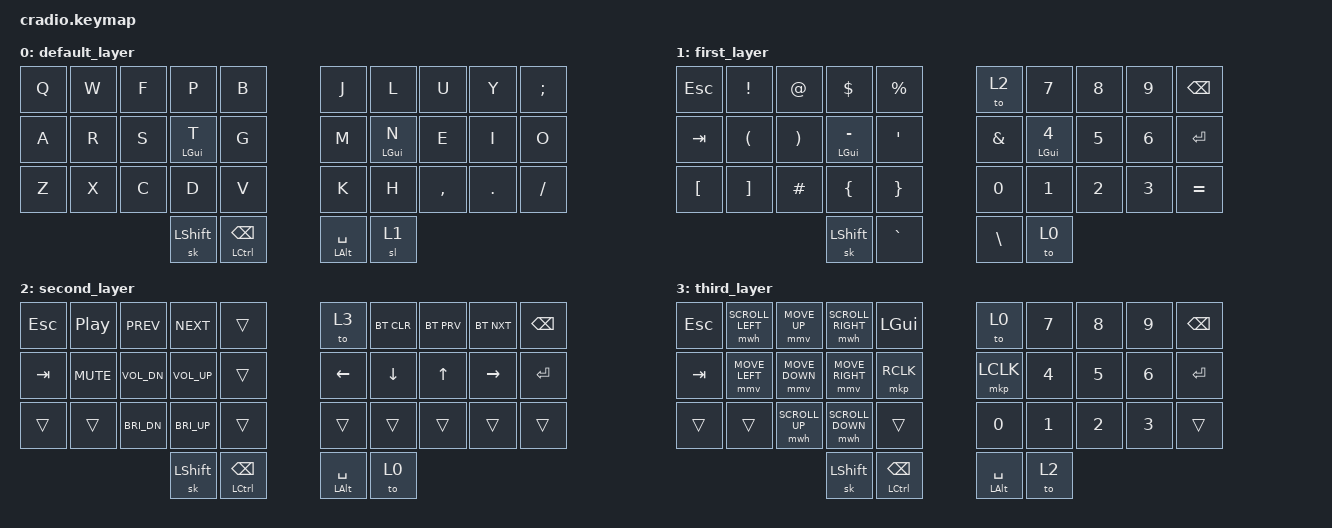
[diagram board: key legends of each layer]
/*
 * Copyright (c) 2020 The ZMK Contributors
 *
 * SPDX-License-Identifier: MIT
 */

#include <behaviors.dtsi>
#include <dt-bindings/zmk/keys.h>
#include <dt-bindings/zmk/bt.h>
#include <dt-bindings/zmk/mouse.h>

#define DEFAULT 0
#define FIRST   1
#define SECOND  2
#define THIRD   3

&mt {
    flavor = "tap-preferred";
    tapping_term_ms = <200>;
};

&mmv {
   time-to-max-speed-ms = <500>;
   acceleration-exponent=<2>;
};

/ {
        keymap {
                compatible = "zmk,keymap";

                default_layer {
                        bindings = <
   &kp Q &kp W &kp F &kp P &kp B        &kp J &kp L  &kp U     &kp Y   &kp SEMI
   &kp A &kp R &kp S &mt LGUI T &kp G   &kp M &mt LGUI N  &kp E     &kp I   &kp O
   &kp Z &kp X &kp C &kp D &kp V        &kp K &kp H  &kp COMMA &kp DOT &kp FSLH
   &sk LSHIFT &mt LCTRL BSPC            &mt LALT SPACE &sl 1
                        >;
                };

                first_layer {
                        bindings = <
   &kp ESC  &kp EXCL &kp AT &kp DLLR &kp PRCNT         &to 2 &kp N7 &kp N8 &kp N9 &kp BSPC
   &kp TAB  &kp LPAR &kp RPAR &mt LGUI MINUS &kp SQT   &kp AMPS &mt LGUI N4 &kp N5 &kp N6 &kp RET
   &kp LBKT &kp RBKT &kp HASH &kp LBRC &kp RBRC        &kp N0 &kp N1 &kp N2 &kp N3 &kp EQUAL
   &sk LSHIFT &kp GRAVE                                &kp BSLH &to 0
                        >;
                };

                second_layer {
                        bindings = <
   &kp ESC &kp C_PP &kp C_PREV &kp C_NEXT &trans          &to 3 &bt BT_CLR &bt BT_PRV &bt BT_NXT &kp BSPC
   &kp TAB &kp K_MUTE &kp C_VOL_DN &kp C_VOL_UP &trans    &kp LEFT &kp DOWN &kp UP &kp RIGHT &kp RET
   &trans &trans &kp C_BRI_DN &kp C_BRI_UP &trans         &trans &trans &trans &trans &trans
   &sk LSHIFT &mt LCTRL BSPC                              &mt LALT SPACE &to 0
                        >;
                };

                third_layer {
                        bindings = <
   &kp ESC &mwh SCROLL_LEFT &mmv MOVE_UP &mwh SCROLL_RIGHT &kp LGUI    &to 0 &kp N7 &kp N8 &kp N9 &kp BSPC
   &kp TAB &mmv MOVE_LEFT &mmv MOVE_DOWN &mmv MOVE_RIGHT &mkp RCLK     &mkp LCLK &kp N4 &kp N5 &kp N6 &kp RET
   &trans &trans &mwh SCROLL_UP &mwh SCROLL_DOWN &trans                &kp N0 &kp N1 &kp N2 &kp N3 &trans
   &sk LSHIFT &mt LCTRL BSPC                                           &mt LALT SPACE &to 2
                        >;
                };
        };
};
